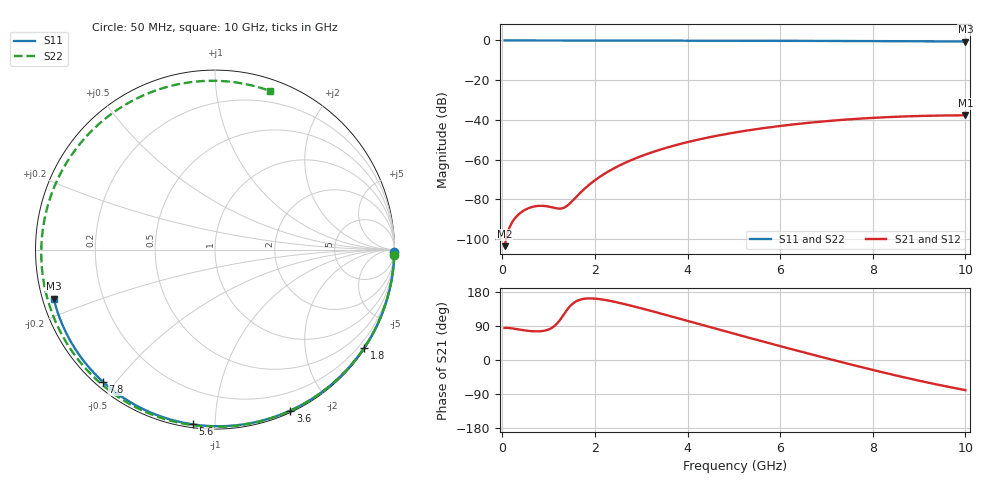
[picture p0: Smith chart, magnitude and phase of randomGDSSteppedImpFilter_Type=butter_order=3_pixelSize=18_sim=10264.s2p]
! freq	dB(S11)	phase(S11)	dB(S12)	phase(S12)
!  dB(S21)	phase(S21)	dB(S22)	phase(S22)
!S-par simulation data
#  GHz  S  DB  R 50
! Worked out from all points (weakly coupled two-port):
!   200 points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, 50 MHz to 10 GHz, reference 50 ohm
!   highest |S21| = -37.70 dB at 10 GHz (marker M1); lowest = -103.6 dB at 50 MHz (marker M2)
!   lowest |S11| = -0.5 dB at 10 GHz (marker M3), VSWR 32.01, Z = 1.6 - j7.43 ohm
!   |S11| at or under -10 dB: nowhere
!   |S22| runs from -0.6 to 0.0 dB; largest |S21 - S12| = 0
!   S11 on the Smith chart (normalised r, x): 50 MHz: open; 1.8 GHz: 0.03, -3.33; 3.6 GHz: 0.02, -1.57; 5.6 GHz: 0.02, -0.88; 7.8 GHz: 0.02, -0.46; 10 GHz: 0.03, -0.15
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0.05  -0.00 -0.9  -103.62 84.6  -103.62 84.6  -0.00 -1.7
0.75  -0.02 -14.1  -83.41 75.5  -83.41 75.5  -0.03 -25.5
1.55  -0.04 -28.8  -79.96 151.4  -79.96 151.4  -0.06 -51.8
1.75  -0.04 -32.5  -75.26 161.2  -75.26 161.2  -0.07 -58.1
1.8  -0.04 -33.4  -74.20 162.0  -74.20 162.0  -0.07 -59.7
2.1  -0.05 -38.8  -68.77 160.6  -68.77 160.6  -0.09 -69.0
2.45  -0.06 -45.0  -63.93 152.9  -63.93 152.9  -0.10 -79.6
2.9  -0.07 -52.9  -59.17 139.6  -59.17 139.6  -0.11 -92.8
3.4  -0.08 -61.6  -55.06 123.4  -55.06 123.4  -0.13 -107.0
3.6  -0.09 -64.9  -53.67 116.7  -53.67 116.7  -0.14 -112.5
4.35  -0.11 -77.4  -49.35 91.4  -49.35 91.4  -0.17 -132.6
5.05  -0.14 -88.6  -46.26 67.9  -46.26 67.9  -0.21 -150.7
5.6  -0.16 -97.3  -44.30 49.7  -44.30 49.7  -0.24 -164.8
6.15  -0.19 -105.7  -42.65 31.7  -42.65 31.7  -0.28 -178.9
6.7  -0.22 -114.0  -41.29 14.0  -41.29 14.0  -0.32 166.8
7.25  -0.26 -122.2  -40.16 -3.3  -40.16 -3.3  -0.36 152.2
7.8  -0.30 -130.3  -39.26 -20.2  -39.26 -20.2  -0.41 137.1
8.35  -0.35 -138.4  -38.59 -36.5  -38.59 -36.5  -0.45 121.5
8.8  -0.40 -145.0  -38.18 -49.2  -38.18 -49.2  -0.49 108.2
9.2  -0.44 -150.9  -37.93 -59.9  -37.93 -59.9  -0.52 96.0
9.6  -0.49 -157.0  -37.78 -70.0  -37.78 -70.0  -0.55 83.6
10  -0.54 -163.1  -37.70 -79.5  -37.70 -79.5  -0.58 71.0
